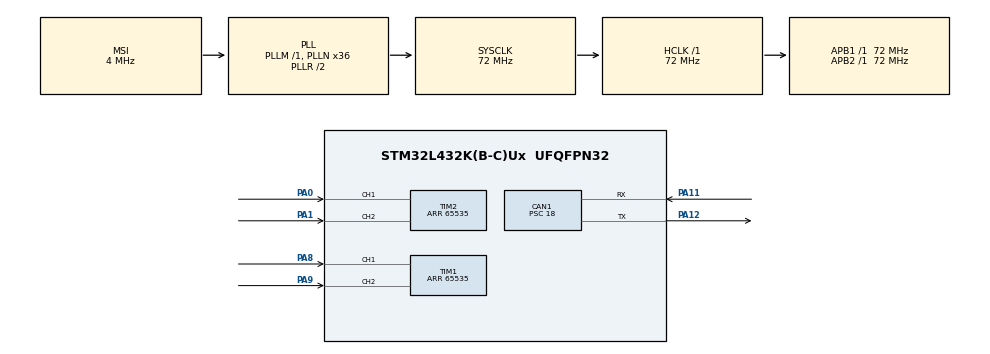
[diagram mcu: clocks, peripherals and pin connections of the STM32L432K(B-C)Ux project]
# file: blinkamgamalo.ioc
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CAN1.BS1=CAN_BS1_3TQ
CAN1.BS2=CAN_BS2_4TQ
CAN1.CalculateBaudRate=500000
CAN1.CalculateTimeBit=2000
CAN1.CalculateTimeQuantum=250.0
CAN1.NART=ENABLE
CAN1.Prescaler=18
Mcu.Family=STM32L4
Mcu.Name=STM32L432K(B-C)Ux
Mcu.Package=UFQFPN32
NVIC.PriorityGroup=NVIC_PRIORITYGROUP_4
NVIC.TIM7_IRQn=true\:0\:0\:false\:false\:true\:true\:true\:true
PA0.Signal=S_TIM2_CH1
PA1.Signal=S_TIM2_CH2
PA11.Mode=CAN_Activate
PA11.Signal=CAN1_RX
PA12.Mode=CAN_Activate
PA12.Signal=CAN1_TX
PA13\ (JTMS-SWDIO).GPIO_Label=SWDIO
PA13\ (JTMS-SWDIO).Mode=Serial_Wire
PA13\ (JTMS-SWDIO).Signal=SYS_JTMS-SWDIO
PA14\ (JTCK-SWCLK).GPIO_Label=SWCLK
PA14\ (JTCK-SWCLK).Mode=Serial_Wire
PA14\ (JTCK-SWCLK).Signal=SYS_JTCK-SWCLK
PA8.Signal=S_TIM1_CH1
PA9.Signal=S_TIM1_CH2
PC14-OSC32_IN\ (PC14).Mode=LSE-External-Oscillator
PC14-OSC32_IN\ (PC14).Signal=RCC_OSC32_IN
PC15-OSC32_OUT\ (PC15).Mode=LSE-External-Oscillator
PC15-OSC32_OUT\ (PC15).Signal=RCC_OSC32_OUT
ProjectManager.HeapSize=0x200
ProjectManager.StackSize=0x400
ProjectManager.TargetToolchain=STM32CubeIDE
RCC.ADCFreq_Value=16000000
RCC.AHBFreq_Value=72000000
RCC.APB1Freq_Value=72000000
RCC.APB1TimFreq_Value=72000000
RCC.APB2Freq_Value=72000000
RCC.APB2TimFreq_Value=72000000
RCC.CortexFreq_Value=72000000
RCC.HCLKFreq_Value=72000000
RCC.HSE_VALUE=8000000
RCC.HSI16_VALUE=16000000
RCC.HSI48_VALUE=48000000
RCC.HSI_VALUE=16000000
RCC.MSI_VALUE=4000000
RCC.PLLMUL=RCC_PLLMUL_4
RCC.PLLN=36
RCC.SYSCLKFreq_VALUE=72000000
RCC.SYSCLKSource=RCC_SYSCLKSOURCE_PLLCLK
RCC.USBFreq_Value=16000000
RCC.VCOOutputFreq_Value=144000000
SH.S_TIM1_CH1.0=TIM1_CH1,Encoder_Interface
SH.S_TIM1_CH2.0=TIM1_CH2,Encoder_Interface
SH.S_TIM2_CH1.0=TIM2_CH1,Encoder_Interface
SH.S_TIM2_CH2.0=TIM2_CH2,Encoder_Interface
TIM1.AutoReloadPreload=TIM_AUTORELOAD_PRELOAD_ENABLE
TIM1.EncoderMode=TIM_ENCODERMODE_TI12
TIM1.IC1Filter=10
TIM1.IC2Filter=0
TIM1.Period=65535
TIM2.AutoReloadPreload=TIM_AUTORELOAD_PRELOAD_ENABLE
TIM2.EncoderMode=TIM_ENCODERMODE_TI12
TIM2.IC1Filter=10
TIM2.IC1Polarity=TIM_ICPOLARITY_RISING
TIM2.IC2Polarity=TIM_ICPOLARITY_RISING
TIM2.Period=65535
TIM7.AutoReloadPreload=TIM_AUTORELOAD_PRELOAD_ENABLE
TIM7.Period=1000
TIM7.Prescaler=7200
VP_TIM7_VS_ClockSourceINT.Mode=Enable_Timer
board=NUCLEO-L432KC

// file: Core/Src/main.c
/* USER CODE BEGIN Header */
/**
  ******************************************************************************
  * @file           : main.c
  * @brief          : Main program body
  ******************************************************************************
  * @attention
  *
  * Copyright (c) 2023 STMicroelectronics.
  * All rights reserved.
  *
  * This software is licensed under terms that can be found in the LICENSE file
  * in the root directory of this software component.
  * If no LICENSE file comes with this software, it is provided AS-IS.
  *
  ******************************************************************************
  */
/* USER CODE END Header */
#include "main.h"

/* USER CODE BEGIN Includes */
#include <stdio.h>
#include <stdlib.h>
#include <math.h>
#include <string.h>
/* USER CODE END Includes */

CAN_HandleTypeDef hcan1;

TIM_HandleTypeDef htim1;
TIM_HandleTypeDef htim2;
TIM_HandleTypeDef htim7;

/* USER CODE BEGIN PV */
static volatile uint16_t tim_1_cnt = 0, tim_2_cnt = 0;

CAN_FilterTypeDef canfilterconfig;

CAN_TxHeaderTypeDef TxHeader;
uint8_t TxData[4];
uint32_t TxMailbox;
/* USER CODE END PV */

void SystemClock_Config(void);
static void MX_GPIO_Init(void);
static void MX_TIM7_Init(void);
static void MX_TIM1_Init(void);
static void MX_TIM2_Init(void);
static void MX_CAN1_Init(void);

int main(void)
{

  /* MCU Configuration--------------------------------------------------------*/

  /* Reset of all peripherals, Initializes the Flash interface and the Systick. */
  HAL_Init();

  /* Configure the system clock */
  SystemClock_Config();

  /* Initialize all configured peripherals */
  MX_GPIO_Init();
  MX_TIM7_Init();
  MX_TIM1_Init();
  MX_TIM2_Init();
  MX_CAN1_Init();
  /* USER CODE BEGIN 2 */

  HAL_TIM_Encoder_Start(&htim1, TIM_CHANNEL_ALL);
  HAL_TIM_Encoder_Start(&htim2, TIM_CHANNEL_ALL);

  TIM1->CNT = 0;
  TIM2->CNT = 0;

  TxHeader.StdId = 0x1;
  TxHeader.IDE = CAN_ID_STD;
  TxHeader.RTR = CAN_RTR_DATA;
  TxHeader.DLC = 4;

  canfilterconfig.FilterActivation = CAN_FILTER_ENABLE;
  canfilterconfig.FilterBank = 18;  // which filter bank to use from the assigned ones
  canfilterconfig.FilterFIFOAssignment = CAN_FILTER_FIFO0;
  canfilterconfig.FilterIdHigh = 0x446<<5;
  canfilterconfig.FilterIdLow = 0;
  canfilterconfig.FilterMaskIdHigh = 0x446<<5;
  canfilterconfig.FilterMaskIdLow = 0x0000;
  canfilterconfig.FilterMode = CAN_FILTERMODE_IDMASK;
  canfilterconfig.FilterScale = CAN_FILTERSCALE_32BIT;
  canfilterconfig.SlaveStartFilterBank = 20;  // how many filters to assign to the CAN1 (master can)

  HAL_TIM_Base_Start_IT(&htim7);
  HAL_CAN_Start(&hcan1);

  /* USER CODE END 2 */

  /* Infinite loop */
  while (1)
  {

  }
}

void SystemClock_Config(void)
{
  RCC_OscInitTypeDef RCC_OscInitStruct = {0};
  RCC_ClkInitTypeDef RCC_ClkInitStruct = {0};

  /** Configure the main internal regulator output voltage
  */
  if (HAL_PWREx_ControlVoltageScaling(PWR_REGULATOR_VOLTAGE_SCALE1) != HAL_OK)
  {
    Error_Handler();
  }

  /** Configure LSE Drive Capability
  */
  HAL_PWR_EnableBkUpAccess();
  __HAL_RCC_LSEDRIVE_CONFIG(RCC_LSEDRIVE_LOW);

  /** Initializes the RCC Oscillators according to the specified parameters
  * in the RCC_OscInitTypeDef structure.
  */
  RCC_OscInitStruct.OscillatorType = RCC_OSCILLATORTYPE_LSE|RCC_OSCILLATORTYPE_MSI;
  RCC_OscInitStruct.LSEState = RCC_LSE_ON;
  RCC_OscInitStruct.MSIState = RCC_MSI_ON;
  RCC_OscInitStruct.MSICalibrationValue = 0;
  RCC_OscInitStruct.MSIClockRange = RCC_MSIRANGE_6;
  RCC_OscInitStruct.PLL.PLLState = RCC_PLL_ON;
  RCC_OscInitStruct.PLL.PLLSource = RCC_PLLSOURCE_MSI;
  RCC_OscInitStruct.PLL.PLLM = 1;
  RCC_OscInitStruct.PLL.PLLN = 36;
  RCC_OscInitStruct.PLL.PLLP = RCC_PLLP_DIV7;
  RCC_OscInitStruct.PLL.PLLQ = RCC_PLLQ_DIV2;
  RCC_OscInitStruct.PLL.PLLR = RCC_PLLR_DIV2;
  if (HAL_RCC_OscConfig(&RCC_OscInitStruct) != HAL_OK)
  {
    Error_Handler();
  }

  /** Initializes the CPU, AHB and APB buses clocks
  */
  RCC_ClkInitStruct.ClockType = RCC_CLOCKTYPE_HCLK|RCC_CLOCKTYPE_SYSCLK
                              |RCC_CLOCKTYPE_PCLK1|RCC_CLOCKTYPE_PCLK2;
  RCC_ClkInitStruct.SYSCLKSource = RCC_SYSCLKSOURCE_PLLCLK;
  RCC_ClkInitStruct.AHBCLKDivider = RCC_SYSCLK_DIV1;
  RCC_ClkInitStruct.APB1CLKDivider = RCC_HCLK_DIV1;
  RCC_ClkInitStruct.APB2CLKDivider = RCC_HCLK_DIV1;

  if (HAL_RCC_ClockConfig(&RCC_ClkInitStruct, FLASH_LATENCY_4) != HAL_OK)
  {
    Error_Handler();
  }

  /** Enable MSI Auto calibration
  */
  HAL_RCCEx_EnableMSIPLLMode();
}

static void MX_CAN1_Init(void)
{

  hcan1.Instance = CAN1;
  hcan1.Init.Prescaler = 18;
  hcan1.Init.Mode = CAN_MODE_NORMAL;
  hcan1.Init.SyncJumpWidth = CAN_SJW_1TQ;
  hcan1.Init.TimeSeg1 = CAN_BS1_3TQ;
  hcan1.Init.TimeSeg2 = CAN_BS2_4TQ;
  hcan1.Init.TimeTriggeredMode = DISABLE;
  hcan1.Init.AutoBusOff = DISABLE;
  hcan1.Init.AutoWakeUp = DISABLE;
  hcan1.Init.AutoRetransmission = ENABLE;
  hcan1.Init.ReceiveFifoLocked = DISABLE;
  hcan1.Init.TransmitFifoPriority = DISABLE;
  if (HAL_CAN_Init(&hcan1) != HAL_OK)
  {
    Error_Handler();
  }

}

static void MX_TIM1_Init(void)
{

  TIM_Encoder_InitTypeDef sConfig = {0};
  TIM_MasterConfigTypeDef sMasterConfig = {0};

  htim1.Instance = TIM1;
  htim1.Init.Prescaler = 0;
  htim1.Init.CounterMode = TIM_COUNTERMODE_UP;
  htim1.Init.Period = 65535;
  htim1.Init.ClockDivision = TIM_CLOCKDIVISION_DIV1;
  htim1.Init.RepetitionCounter = 0;
  htim1.Init.AutoReloadPreload = TIM_AUTORELOAD_PRELOAD_ENABLE;
  sConfig.EncoderMode = TIM_ENCODERMODE_TI12;
  sConfig.IC1Polarity = TIM_ICPOLARITY_RISING;
  sConfig.IC1Selection = TIM_ICSELECTION_DIRECTTI;
  sConfig.IC1Prescaler = TIM_ICPSC_DIV1;
  sConfig.IC1Filter = 10;
  sConfig.IC2Polarity = TIM_ICPOLARITY_RISING;
  sConfig.IC2Selection = TIM_ICSELECTION_DIRECTTI;
  sConfig.IC2Prescaler = TIM_ICPSC_DIV1;
  sConfig.IC2Filter = 0;
  if (HAL_TIM_Encoder_Init(&htim1, &sConfig) != HAL_OK)
  {
    Error_Handler();
  }
  sMasterConfig.MasterOutputTrigger = TIM_TRGO_RESET;
  sMasterConfig.MasterOutputTrigger2 = TIM_TRGO2_RESET;
  sMasterConfig.MasterSlaveMode = TIM_MASTERSLAVEMODE_DISABLE;
  if (HAL_TIMEx_MasterConfigSynchronization(&htim1, &sMasterConfig) != HAL_OK)
  {
    Error_Handler();
  }

}

static void MX_TIM2_Init(void)
{

  TIM_Encoder_InitTypeDef sConfig = {0};
  TIM_MasterConfigTypeDef sMasterConfig = {0};

  htim2.Instance = TIM2;
  htim2.Init.Prescaler = 0;
  htim2.Init.CounterMode = TIM_COUNTERMODE_UP;
  htim2.Init.Period = 65535;
  htim2.Init.ClockDivision = TIM_CLOCKDIVISION_DIV1;
  htim2.Init.AutoReloadPreload = TIM_AUTORELOAD_PRELOAD_ENABLE;
  sConfig.EncoderMode = TIM_ENCODERMODE_TI12;
  sConfig.IC1Polarity = TIM_ICPOLARITY_RISING;
  sConfig.IC1Selection = TIM_ICSELECTION_DIRECTTI;
  sConfig.IC1Prescaler = TIM_ICPSC_DIV1;
  sConfig.IC1Filter = 10;
  sConfig.IC2Polarity = TIM_ICPOLARITY_RISING;
  sConfig.IC2Selection = TIM_ICSELECTION_DIRECTTI;
  sConfig.IC2Prescaler = TIM_ICPSC_DIV1;
  sConfig.IC2Filter = 0;
  if (HAL_TIM_Encoder_Init(&htim2, &sConfig) != HAL_OK)
  {
    Error_Handler();
  }
  sMasterConfig.MasterOutputTrigger = TIM_TRGO_RESET;
  sMasterConfig.MasterSlaveMode = TIM_MASTERSLAVEMODE_DISABLE;
  if (HAL_TIMEx_MasterConfigSynchronization(&htim2, &sMasterConfig) != HAL_OK)
  {
    Error_Handler();
  }

}

static void MX_TIM7_Init(void)
{

  TIM_MasterConfigTypeDef sMasterConfig = {0};

  htim7.Instance = TIM7;
  htim7.Init.Prescaler = 7199;
  htim7.Init.CounterMode = TIM_COUNTERMODE_UP;
  htim7.Init.Period = 9;
  htim7.Init.AutoReloadPreload = TIM_AUTORELOAD_PRELOAD_ENABLE;
  if (HAL_TIM_Base_Init(&htim7) != HAL_OK)
  {
    Error_Handler();
  }
  sMasterConfig.MasterOutputTrigger = TIM_TRGO_RESET;
  sMasterConfig.MasterSlaveMode = TIM_MASTERSLAVEMODE_DISABLE;
  if (HAL_TIMEx_MasterConfigSynchronization(&htim7, &sMasterConfig) != HAL_OK)
  {
    Error_Handler();
  }

}

static void MX_GPIO_Init(void)
{

  /* GPIO Ports Clock Enable */
  __HAL_RCC_GPIOC_CLK_ENABLE();
  __HAL_RCC_GPIOA_CLK_ENABLE();

}

/* USER CODE BEGIN 4 */
void HAL_TIM_PeriodElapsedCallback(TIM_HandleTypeDef* htim)
{
	tim_1_cnt = TIM1->CNT;
	tim_2_cnt  = TIM2->CNT;
	TxData[1] = tim_1_cnt>>8;
	TxData[0] = tim_1_cnt&0x00FF;

	TxData[3] = tim_2_cnt>>8;
	TxData[2] = tim_2_cnt&0x00FF;

	HAL_CAN_AddTxMessage(&hcan1, &TxHeader, TxData, &TxMailbox);
//    HAL_GPIO_TogglePin(GPIOB, GPIO_PIN_3);
}
/* USER CODE END 4 */

void Error_Handler(void)
{
  __disable_irq();
  while (1)
  {
  }
}
